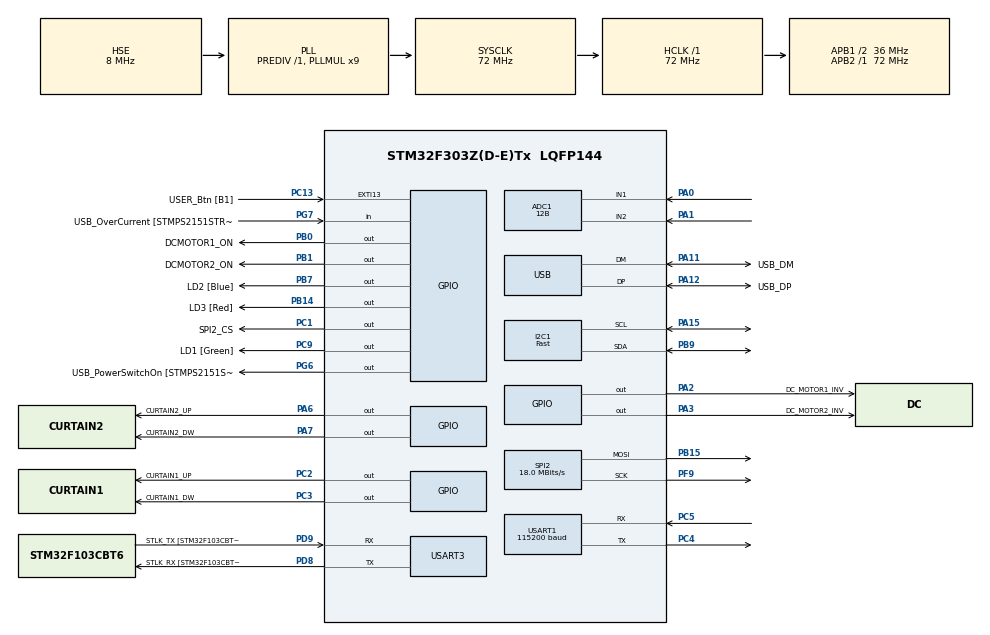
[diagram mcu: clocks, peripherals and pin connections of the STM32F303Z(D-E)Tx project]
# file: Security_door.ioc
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ADC1.Channel-0\#ChannelRegularConversion=ADC_CHANNEL_1
ADC1.Channel-1\#ChannelRegularConversion=ADC_CHANNEL_2
ADC1.ClockPrescaler=ADC_CLOCK_SYNC_PCLK_DIV2
ADC1.ContinuousConvMode=ENABLE
ADC1.DMAContinuousRequests=ENABLE
ADC1.EOCSelection=ADC_EOC_SINGLE_CONV
ADC1.NbrOfConversion=2
ADC1.NbrOfConversionFlag=1
ADC1.Offset-0\#ChannelRegularConversion=0
ADC1.Offset-1\#ChannelRegularConversion=0
ADC1.OffsetNumber-0\#ChannelRegularConversion=ADC_OFFSET_NONE
ADC1.OffsetNumber-1\#ChannelRegularConversion=ADC_OFFSET_NONE
ADC1.Rank-0\#ChannelRegularConversion=1
ADC1.Rank-1\#ChannelRegularConversion=2
ADC1.Resolution=ADC_RESOLUTION_12B
ADC1.SamplingTime-0\#ChannelRegularConversion=ADC_SAMPLETIME_181CYCLES_5
ADC1.SamplingTime-1\#ChannelRegularConversion=ADC_SAMPLETIME_181CYCLES_5
ADC1.master=1
Dma.ADC1.2.Direction=DMA_PERIPH_TO_MEMORY
Dma.ADC1.2.Instance=DMA1_Channel1
Dma.ADC1.2.MemDataAlignment=DMA_MDATAALIGN_HALFWORD
Dma.ADC1.2.MemInc=DMA_MINC_ENABLE
Dma.ADC1.2.Mode=DMA_CIRCULAR
Dma.ADC1.2.PeriphDataAlignment=DMA_PDATAALIGN_HALFWORD
Dma.ADC1.2.PeriphInc=DMA_PINC_DISABLE
Dma.ADC1.2.Priority=DMA_PRIORITY_LOW
Dma.Request0=USART1_RX
Dma.Request1=USART1_TX
Dma.Request2=ADC1
Dma.USART1_RX.0.Direction=DMA_PERIPH_TO_MEMORY
Dma.USART1_RX.0.Instance=DMA1_Channel5
Dma.USART1_RX.0.MemDataAlignment=DMA_MDATAALIGN_BYTE
Dma.USART1_RX.0.MemInc=DMA_MINC_ENABLE
Dma.USART1_RX.0.Mode=DMA_NORMAL
Dma.USART1_RX.0.PeriphDataAlignment=DMA_PDATAALIGN_BYTE
Dma.USART1_RX.0.PeriphInc=DMA_PINC_DISABLE
Dma.USART1_RX.0.Priority=DMA_PRIORITY_LOW
Dma.USART1_TX.1.Direction=DMA_MEMORY_TO_PERIPH
Dma.USART1_TX.1.Instance=DMA1_Channel4
Dma.USART1_TX.1.MemDataAlignment=DMA_MDATAALIGN_BYTE
Dma.USART1_TX.1.MemInc=DMA_MINC_ENABLE
Dma.USART1_TX.1.Mode=DMA_NORMAL
Dma.USART1_TX.1.PeriphDataAlignment=DMA_PDATAALIGN_BYTE
Dma.USART1_TX.1.PeriphInc=DMA_PINC_DISABLE
Dma.USART1_TX.1.Priority=DMA_PRIORITY_LOW
I2C1.I2C_Speed_Mode=I2C_Fast
I2C1.Timing=0x0000020B
Mcu.Family=STM32F3
Mcu.Name=STM32F303Z(D-E)Tx
Mcu.Package=LQFP144
NVIC.DMA1_Channel1_IRQn=true\:0\:0\:false\:false\:true\:false\:true
NVIC.DMA1_Channel4_IRQn=true\:0\:0\:false\:false\:true\:false\:true
NVIC.DMA1_Channel5_IRQn=true\:0\:0\:false\:false\:true\:false\:true
NVIC.PriorityGroup=NVIC_PRIORITYGROUP_4
NVIC.TIM6_DAC_IRQn=true\:0\:0\:false\:false\:true\:true\:true
NVIC.TIM7_IRQn=true\:0\:0\:false\:false\:true\:true\:true
NVIC.USART1_IRQn=true\:0\:0\:false\:false\:true\:true\:true
NVIC.USB_LP_CAN_RX0_IRQn=true\:0\:0\:false\:false\:true\:true\:true
PA0.Mode=IN1-Single-Ended
PA0.Signal=ADC1_IN1
PA1.Mode=IN2-Single-Ended
PA1.Signal=ADC1_IN2
PA11.GPIO_Label=USB_DM
PA11.Mode=Device
PA11.Signal=USB_DM
PA12.GPIO_Label=USB_DP
PA12.Mode=Device
PA12.Signal=USB_DP
PA13.GPIO_Label=TMS
PA13.Mode=Serial_Wire
PA13.Signal=SYS_JTMS-SWDIO
PA14.GPIO_Label=TCK
PA14.Mode=Serial_Wire
PA14.Signal=SYS_JTCK-SWCLK
PA15.Mode=I2C
PA15.Signal=I2C1_SCL
PA2.GPIO_Label=DC_MOTOR1_INV
PA2.Signal=GPIO_Output
PA3.GPIO_Label=DC_MOTOR2_INV
PA3.Signal=GPIO_Output
PA6.GPIO_Label=CURTAIN2_UP
PA6.Signal=GPIO_Output
PA7.GPIO_Label=CURTAIN2_DW
PA7.Signal=GPIO_Output
PB0.GPIO_Label=DCMOTOR1_ON
PB0.Signal=GPIO_Output
PB1.GPIO_Label=DCMOTOR2_ON
PB1.Signal=GPIO_Output
PB14.GPIO_Label=LD3 [Red]
PB14.Signal=GPIO_Output
PB15.Mode=TX_Only_Simplex_Unidirect_Master
PB15.Signal=SPI2_MOSI
PB3.GPIO_Label=SWO
PB3.Signal=SYS_JTDO-TRACESWO
PB7.GPIO_Label=LD2 [Blue]
PB7.Signal=GPIO_Output
PB9.Mode=I2C
PB9.Signal=I2C1_SDA
PC1.GPIO_Label=SPI2_CS
PC1.Signal=GPIO_Output
PC13.GPIO_Label=USER_Btn [B1]
PC13.Signal=GPXTI13
PC14-OSC32_IN.Mode=LSE-External-Oscillator
PC14-OSC32_IN.Signal=RCC_OSC32_IN
PC15-OSC32_OUT.Mode=LSE-External-Oscillator
PC15-OSC32_OUT.Signal=RCC_OSC32_OUT
PC2.GPIO_Label=CURTAIN1_UP
PC2.Signal=GPIO_Output
PC3.GPIO_Label=CURTAIN1_DW
PC3.Signal=GPIO_Output
PC4.Mode=Asynchronous
PC4.Signal=USART1_TX
PC5.Mode=Asynchronous
PC5.Signal=USART1_RX
PC9.GPIO_Label=LD1 [Green]
PC9.Signal=GPIO_Output
PD8.GPIO_Label=STLK_RX [STM32F103CBT6_PA3]
PD8.Mode=Asynchronous
PD8.Signal=USART3_TX
PD9.GPIO_Label=STLK_TX [STM32F103CBT6_PA2]
PD9.Mode=Asynchronous
PD9.Signal=USART3_RX
PF0-OSC_IN.GPIO_Label=MCO [STM32F103CBT6_PA8]
PF0-OSC_IN.Mode=HSE-External-Clock-Source
PF0-OSC_IN.Signal=RCC_OSC_IN
PF9.Mode=TX_Only_Simplex_Unidirect_Master
PF9.Signal=SPI2_SCK
PG6.GPIO_Label=USB_PowerSwitchOn [STMPS2151STR_EN]
PG6.Signal=GPIO_Output
PG7.GPIO_Label=USB_OverCurrent [STMPS2151STR_FAULT]
PG7.Signal=GPIO_Input
ProjectManager.HeapSize=0x400
ProjectManager.StackSize=0x800
ProjectManager.TargetToolchain=SW4STM32
RCC.AHBFreq_Value=72000000
RCC.APB1CLKDivider=RCC_HCLK_DIV2
RCC.APB1Freq_Value=36000000
RCC.APB1TimFreq_Value=72000000
RCC.APB2Freq_Value=72000000
RCC.APB2TimFreq_Value=72000000
RCC.CortexFreq_Value=72000000
RCC.HCLKFreq_Value=72000000
RCC.HSE_VALUE=8000000
RCC.HSI_VALUE=8000000
RCC.PLLMUL=RCC_PLL_MUL9
RCC.PRESCALERUSB=RCC_USBCLKSOURCE_PLL_DIV1_5
RCC.SYSCLKFreq_VALUE=72000000
RCC.SYSCLKSourceVirtual=RCC_SYSCLKSOURCE_PLLCLK
RCC.USBFreq_Value=48000000
SPI2.BaudRatePrescaler=SPI_BAUDRATEPRESCALER_2
SPI2.CLKPhase=SPI_PHASE_2EDGE
SPI2.CLKPolarity=SPI_POLARITY_HIGH
SPI2.CalculateBaudRate=18.0 MBits/s
SPI2.DataSize=SPI_DATASIZE_8BIT
SPI2.Direction=SPI_DIRECTION_2LINES
SPI2.Mode=SPI_MODE_MASTER
SPI2.VirtualType=VM_MASTER
TIM6.Period=19999
TIM6.Prescaler=35999
TIM7.Period=199
TIM7.Prescaler=17999
USART1.BaudRate=115200
USART1.VirtualMode-Asynchronous=VM_ASYNC
USART3.VirtualMode-Asynchronous=VM_ASYNC
VP_RTC_VS_RTC_Activate.Mode=RTC_Enabled
VP_TIM17_VS_ClockSourceINT.Mode=Enable_Timer
VP_TIM6_VS_ClockSourceINT.Mode=Enable_Timer
VP_TIM7_VS_ClockSourceINT.Mode=Enable_Timer
board=NUCLEO-F303ZE

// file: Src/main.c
/* USER CODE BEGIN Header */
/**
  ******************************************************************************
  * @file           : main.c
  * @brief          : Main program body
  ******************************************************************************
  * @attention
  *
  * <h2><center>&copy; Copyright (c) 2020 STMicroelectronics.
  * All rights reserved.</center></h2>
  *
  * This software component is licensed by ST under BSD 3-Clause license,
  * the "License"; You may not use this file except in compliance with the
  * License. You may obtain a copy of the License at:
  *                        opensource.org/licenses/BSD-3-Clause
  *
  ******************************************************************************
  */
/* USER CODE END Header */

#include "main.h"

/* USER CODE BEGIN PD */
#define MAX 65535				//control signal is calculated as 32 bit signed int, but passed to dac as 16bit unsigned int
#define MIN 0
#define STABLE_ITERATIONS 40	//40*50ms is 2000ms=2s, if error

#define RESPONSE_BYTES 2		//size of UART response buffer
#define ADC_RESOLUTION 4096		//ADC bitsize is 12, 12^2=4096

#define KEYPAD_READ_ADDR 0x41	//these 3 values are taken from I2C expander documentation
#define KEYPAD_WRITE_ADDR 0x40
#define KEYPAD_GPIOA_ADDR 0x12

/* USER CODE END PD */

ADC_HandleTypeDef hadc1;
DMA_HandleTypeDef hdma_adc1;

I2C_HandleTypeDef hi2c1;

RTC_HandleTypeDef hrtc;

SPI_HandleTypeDef hspi2;

TIM_HandleTypeDef htim6;
TIM_HandleTypeDef htim7;
TIM_HandleTypeDef htim17;

UART_HandleTypeDef huart1;
UART_HandleTypeDef huart3;
DMA_HandleTypeDef hdma_usart1_rx;
DMA_HandleTypeDef hdma_usart1_tx;

PCD_HandleTypeDef hpcd_USB_FS;

/* USER CODE BEGIN PV */
extern uint8_t overflow_flag_tim6;						//flag checked in callback function from timer (see stm32f3xx_it.c)
extern uint8_t overflow_flag_tim7;

uint16_t ADC_buffer[4]={0xFFFF,0xFFFF,0xFFFF,0xFFFF};	//purpose of buffer being of size of 4 is to check if DMA was set to right parameters in CUBE (Half word, instead of word
uint16_t distance[2]={0,0};								//distance calculated with ADC value (in mm)
uint16_t DAC_value[2]={0,0};							//value passed to DAC
int control_value[2]={0,0};								//value calculated by control algorithm before passing it to DAC
uint16_t motor_refference_prim[2]={1000,1000};			//0-open, 1000-closed
uint16_t motor_refference[2]={1000,1000};				//0-open, 1000-closed
int error[2]={0,0};										//error calculated from distance and reference values
int error_prim[2]={0,0};								//value of error in previous period of control algorithm
float kP=1;												//Value of proportional gain of the controller (placeholder)
float kD=0.5;											//Value of differentional part's gain of the controller (placeholder)

uint8_t received[3]={0,0,0};			//buffer for bytes received via USART from the supervisor PC
uint16_t com_password=0xFFFF;			//password needed to open the communication via USART from the PC
uint8_t com_locked=1;					//flag that indicates if access to supervisor commands was granted via USART

/*uint32_t dac_write_command = 0x3;
  uint32_t channel_write_ch_A = 0x0;
  uint32_t channel_write_ch_B = 0x1;*/	//currently unused

uint16_t standby_password=1234;			//keypad input needed to open the doors in standby mode
uint16_t alarm_password=2345;			//keypad input needed to go back to standby mode back from alarm mode
uint16_t night_password=3456;			//keypad input needed to go back to standby mode back from nighttime mode
uint8_t door_status=1; 					//0-opened, 1- closed
uint8_t curtain_status[2]={2,2}; 		//0-opened, 1-closing, 2 - closed, 3 - opening
uint8_t controller_status[2]={0,0};		//0-enabled, 1-disabled
uint8_t door_lock=1;					//0-open, 1-closed
uint8_t status=0;						//0-standby, 1-alarm, 2-nightmode
/* USER CODE END PV */

void SystemClock_Config(void);
static void MX_GPIO_Init(void);
static void MX_DMA_Init(void);
static void MX_RTC_Init(void);
static void MX_USART1_UART_Init(void);
static void MX_USART3_UART_Init(void);
static void MX_USB_PCD_Init(void);
static void MX_ADC1_Init(void);
static void MX_I2C1_Init(void);
static void MX_SPI2_Init(void);
static void MX_TIM17_Init(void);
static void MX_TIM6_Init(void);
static void MX_TIM7_Init(void);
/* USER CODE BEGIN PFP */
void open_curtains(){
    if(curtain_status[0]!=0){	//if the curtain is not opened already
    	HAL_GPIO_WritePin(DCMOTOR1_ON_GPIO_Port,DCMOTOR1_ON_Pin,GPIO_PIN_SET);	//start up the dc motor
        HAL_GPIO_WritePin(CURTAIN1_UP_GPIO_Port,CURTAIN1_UP_Pin,GPIO_PIN_RESET);//disengage the locks..
        HAL_GPIO_WritePin(CURTAIN1_DW_GPIO_Port,CURTAIN1_DW_Pin,GPIO_PIN_RESET);//...that hold the curtain in place
        motor_refference[0]=0;
        curtain_status[0]=3;				//switched to opening
        controller_status[0]=1;				//enable the regulator
        HAL_TIM_Base_Start_IT(&htim7);		//start up the timer with the regulator
    }
    if(curtain_status[1]!=0){	//why not use for if both ifs are almost identical? Because of pin names in HAL functions
    	HAL_GPIO_WritePin(DCMOTOR2_ON_GPIO_Port,DCMOTOR2_ON_Pin,GPIO_PIN_SET);
        HAL_GPIO_WritePin(CURTAIN2_UP_GPIO_Port,CURTAIN2_UP_Pin,GPIO_PIN_RESET);
        HAL_GPIO_WritePin(CURTAIN2_DW_GPIO_Port,CURTAIN2_DW_Pin,GPIO_PIN_RESET);
        motor_refference[1]=0;
        curtain_status[1]=3;
        controller_status[1]=1;
        HAL_TIM_Base_Start_IT(&htim7);
    }
}
void open_door(){
	HAL_GPIO_WritePin(LD2_GPIO_Port,LD2_Pin,GPIO_PIN_SET);	//logic for magnetic lock is inverted to prevent it from being left opened in case of power failure
	door_status=0;					//door status is used to prevent code being input on keypad while doors are opened
	htim6.Instance->CNT=0;			//this is mostly redundant, but with timers it's "better safe than sorry" for me
	HAL_TIM_Base_Start_IT(&htim6);	//engage the door lock again in 10 minutes
};
void close_all(){		//almost the same as open_curtains()
	door_status=1;		//but doors are also closed hence "close_all()"
	HAL_GPIO_WritePin(LD2_GPIO_Port,LD2_Pin,GPIO_PIN_RESET);	//since I don't have a real magnetic lock LED 2 is used instead
    if(curtain_status[0]!=2){
    	HAL_GPIO_WritePin(DCMOTOR1_ON_GPIO_Port,DCMOTOR1_ON_Pin,GPIO_PIN_SET);
		HAL_GPIO_WritePin(CURTAIN1_UP_GPIO_Port,CURTAIN1_UP_Pin,GPIO_PIN_RESET);
		HAL_GPIO_WritePin(CURTAIN1_DW_GPIO_Port,CURTAIN1_DW_Pin,GPIO_PIN_RESET);
        motor_refference[0]=1000;
        curtain_status[0]=1;
        controller_status[0]=1;
        HAL_TIM_Base_Start_IT(&htim7);
    }
    if(curtain_status[1]!=2){
		HAL_GPIO_WritePin(DCMOTOR2_ON_GPIO_Port,DCMOTOR2_ON_Pin,GPIO_PIN_SET);
		HAL_GPIO_WritePin(CURTAIN2_UP_GPIO_Port,CURTAIN2_UP_Pin,GPIO_PIN_RESET);
		HAL_GPIO_WritePin(CURTAIN2_DW_GPIO_Port,CURTAIN2_DW_Pin,GPIO_PIN_RESET);
		motor_refference[1]=1000;
		curtain_status[1]=1;
		controller_status[1]=1;
		HAL_TIM_Base_Start_IT(&htim7);
	}
}
void turn_standby(){
	status=0;			//status is used in main logic of the program
	HAL_GPIO_WritePin(LD3_GPIO_Port,LD3_Pin,GPIO_PIN_RESET);	//turn off the alarm
    open_curtains();	//turning standby is not the same as opening the doors - that's why we open the curtains only
}
void turn_alarm(){
	status=1;
	HAL_GPIO_WritePin(LD3_GPIO_Port,LD3_Pin,GPIO_PIN_SET);		//since I don't have an alarm siren - LED 3 is used instead
    close_all();
}
void turn_nightmode(){
	status=2;			//nighttime is basically the same as alarm mode without actual alarm, it's meant to seal the room durin off hours
    close_all();
}
uint8_t* buffer_fitting(uint32_t response){			//this function takes single bitstream response and fits it into 8 bit variables to create a fitting buffer for USART
	static uint8_t buffer[RESPONSE_BYTES];
	for(int i=0;i<RESPONSE_BYTES;i++){
		buffer[i]=(response>>((RESPONSE_BYTES-1-i)*8))&0xFF;
	}
	return buffer;	//normally returning pointer to static variable within function is dangerous, but this function is used only within receive function and the buffer is used immediately after that, so there's no danger
}
int COM_USART_receive(){
    uint8_t msg_type;		//command types: 0 - open/close, 1 - password change, 2 - read control/sensor values, 3 - direct commands
    uint8_t msg_target;
    uint16_t msg_argument;					//message is split into 3 parts
    static uint16_t response;
    uint8_t* send_buffer;
    msg_type=received[0]>>4;				//first 4 bits are type of action to conduct
    msg_target=received[0]&0x0F;			//next 4 are target of the message
    msg_argument=received[1]<<8;			//last two are arguments
    msg_argument=msg_argument|received[2];	//argument is applicable to password setting
    if(msg_type==0&&msg_target==0&&com_locked==1){	//if com is locked password needs to be sent first to unlock it
        if(msg_argument==com_password)	//if password is correct
        {
            com_locked=0;	//unlock the comm
            response=0;		//send 0
            send_buffer=buffer_fitting(response);
            HAL_UART_Transmit_DMA(&huart1, send_buffer, 2); //this could be integrated into buffer fitting as a send() function, but I get a feeling it's better to place it here for clarity
            return 0;										//if we had other USART based comm I would be in favour of doing that ^, because it'd remove the issue of returning pointer to static variable declared in function.
        }else{
            com_locked=1;
            response=1;
            send_buffer=buffer_fitting(response);
			HAL_UART_Transmit_DMA(&huart1, send_buffer, 2);
            return 0;
        }
    }
    if(com_locked==1){		//if comm is locked - access is denied to everything that's not a password guess.
        response=0xF1;
        send_buffer=buffer_fitting(response);
		HAL_UART_Transmit_DMA(&huart1, send_buffer, 2);
        return 1;
    }
    switch(msg_type){
    case 0://close comm
    	com_locked=1;
        if(msg_target!=1){	//since we only have two options if is as applicable as switch-case.
            response=0x01;	//if message is not of target 0 (lock with password), old password is used
            send_buffer=buffer_fitting(response);
			HAL_UART_Transmit_DMA(&huart1, send_buffer, 2);
            return 0;
        }
        com_password=msg_argument;	//if message is of target 0 - argument is used as a new comm password
        response=com_password;
        send_buffer=buffer_fitting(response);
		HAL_UART_Transmit_DMA(&huart1, send_buffer, 2);
        return 0;
        break;
    case 1://Password Change
        if(msg_target==3){		//we can also change comm password in this way, if is used because comm password unlike keypad passwords is not limited to 9999
            com_password=msg_argument;
            response=msg_argument;
            send_buffer=buffer_fitting(response);
			HAL_UART_Transmit_DMA(&huart1, send_buffer, 2);
            return 0;
        }
        if(msg_argument>9999){	//keypadd passwords are 4 decimal digits so they can't exceed 9999
            response=0x30;		//0x30 = wrong argument.
            send_buffer=buffer_fitting(response);
			HAL_UART_Transmit_DMA(&huart1, send_buffer, 2);
            return 1;
        }
        switch(msg_target){		//there is really nothing to say here. it's just changing keypad codes
        case 0:					//standby code (door opening)
            standby_password=msg_argument;
            response=msg_argument;
            send_buffer=buffer_fitting(response);
			HAL_UART_Transmit_DMA(&huart1, send_buffer, 2);
            break;
        case 1:					//night code (switching from nighttime to standby)
            night_password=msg_argument;
            response=msg_argument;
            send_buffer=buffer_fitting(response);
			HAL_UART_Transmit_DMA(&huart1, send_buffer, 2);
            break;
        case 2:					//alarm code (switching from alarm to standby)
            alarm_password=msg_argument;
            response=msg_argument;
            send_buffer=buffer_fitting(response);
			HAL_UART_Transmit_DMA(&huart1, send_buffer, 2);
            break;
        default:
            response=0x20;	//0x20 - wrong target
            send_buffer=buffer_fitting(response);
			HAL_UART_Transmit_DMA(&huart1, send_buffer, 2);
            return 1;	//error was detected (or access was denied)
        }
        return 0;		//no error was detected
    case 2:						//Converter Values
        switch(msg_target){ 	//we use this to return values read by adc and written to dac
        case 0:					//distance from 1st sensor
            response=distance[0];
            send_buffer=buffer_fitting(response);
			HAL_UART_Transmit_DMA(&huart1, send_buffer, 2);
            break;
        case 1:					//distance from 2nd sensor
            response=distance[1];
            send_buffer=buffer_fitting(response);
			HAL_UART_Transmit_DMA(&huart1, send_buffer, 2);
            break;
        case 2:					//value sent to first channel of DAC
            response=DAC_value[0];
            send_buffer=buffer_fitting(response);
			HAL_UART_Transmit_DMA(&huart1, send_buffer, 2);
            break;
        case 3:
            response=DAC_value[1];
            send_buffer=buffer_fitting(response);
			HAL_UART_Transmit_DMA(&huart1, send_buffer, 2);
            break;
        default:
            response=0x20;	//wrong target
            send_buffer=buffer_fitting(response);
			HAL_UART_Transmit_DMA(&huart1, send_buffer, 2);
            return 1;
        }
        return 0;
    case 3:					//direct commands
        switch(msg_target){
        case 0:				//open all command - turns standby (opening curtains) and opens the door
        					//THIS HAS TO BE USED AFTER LAUNCHING THE SYSTEM since the initial configuration (closed curtains, standby mode, closed door is unobtainable by working system on it's own
        					//this is by design to ensure the security system is always supervised by an overwatch PC unit
            response=0x03;	//03 and not 30 not to confuse it with "wrong argument"
            turn_standby();
            open_door();
            send_buffer=buffer_fitting(response);
			HAL_UART_Transmit_DMA(&huart1, send_buffer, 2);
            break;
        case 1:				//turn alarm/nightmode off/turn standby - this is applicable where someone locks the operator inside.
            response=0x13;
            turn_standby();
            send_buffer=buffer_fitting(response);
			HAL_UART_Transmit_DMA(&huart1, send_buffer, 2);
            break;
        case 2:				//turn alarm on - this is used when safety of an operator is imperiled and he has to close the door
            response=0x23;
            turn_alarm();
            send_buffer=buffer_fitting(response);
			HAL_UART_Transmit_DMA(&huart1, send_buffer, 2);
            break;
        default:
            response=0x20;
            send_buffer=buffer_fitting(response);
			HAL_UART_Transmit_DMA(&huart1, send_buffer, 2);
            return 1;
        }
        return 0;
    default:
        response=0x10;	//0x10 = wrong type
        send_buffer=buffer_fitting(response);
		HAL_UART_Transmit_DMA(&huart1, send_buffer, 2);
        return 1;
    }
    return 2;	//unknown error (there's no way the program would get here)
}
void HAL_ADC_ConvCpltCallback(ADC_HandleTypeDef* hadc){
	for(uint8_t i=0; i<2; i++){
		distance[i] = ADC_buffer[i]*2000/ADC_RESOLUTION-1;	//2000 mm is the maximum range of the sensor (as we can read in the documentation)
	}
}
void HAL_UART_RxCpltCallback(UART_HandleTypeDef *huart) {
	if(huart==&huart1){
		COM_USART_receive();								//call the received message processing function
		HAL_UART_Receive_DMA(&huart1, received, 3);			//set the USART back to receive
	}
}
void HAL_TIM_PeriodElapsedCallback(TIM_HandleTypeDef *htim){
	if((htim->Instance==TIM6)&&(overflow_flag_tim6)){	//this 10 second timer will engage the magnetic lock after disengaging them by open_door()
		HAL_TIM_Base_Stop_IT(&htim6);					//shutting the timer off till it's enabled again by door opening
		htim6.Instance->CNT=0;
		overflow_flag_tim6=0;
		door_status=1;
		HAL_GPIO_WritePin(LD2_GPIO_Port,LD2_Pin,GPIO_PIN_RESET);
	}
	if((htim->Instance==TIM7)&&(overflow_flag_tim7)){	//PD regulator
		static uint8_t DAC_SPI_send_buffer[4]={0,0,0,0};
		static uint8_t DAC_SPI_ans_buffer[4]={0,0,0,0};	//DAC buffers for SPI transmiting function
		static int stable_counter[2]={0,0};
		//REGULATOR//
		for(int control_iterator=0;control_iterator<2;control_iterator++){
			error[control_iterator]=motor_refference[control_iterator]-distance[control_iterator];	//calculating error
			if(controller_status[control_iterator]==1){									//if regulator is enabled
				//PD, dc motor is already an integrating object, so no need for PID
				control_value[control_iterator]=kP*error[control_iterator]+kD*(error[control_iterator]-error_prim[control_iterator]);
				error_prim[control_iterator]=error[control_iterator];					//setting current error as past error for the next period
				if(abs(error[control_iterator])<20){	//this might seem confusing, when opening - error value is reference(0)-distance(positive) so = negative, when closing - it's positive, this statement ensures that we always compare 20 with absolute value of error
					stable_counter[control_iterator]++;						//if the value of error is less than 2cm (in range for lock to be able to hold the curtain) it counts as stable iteration
					if(stable_counter[control_iterator]>STABLE_ITERATIONS){	//if curtains are in lock range for more than 2 seconds controller is disabled and locks are engaged
						stable_counter[control_iterator]=0;					//disabling controller
						controller_status[control_iterator]=0;				//resetting counter of iterations
						if(curtain_status[control_iterator]==1)				//if doors are closing...
							curtain_status[control_iterator]=2; else		//...set as closed
							curtain_status[control_iterator]=0;				//if opening - set as open
						if(control_iterator==0){							//can't use for here, because of pin names
							HAL_GPIO_WritePin(CURTAIN1_UP_GPIO_Port,CURTAIN1_UP_Pin,GPIO_PIN_SET);//first engage the locks - then reset the motor
							HAL_GPIO_WritePin(CURTAIN1_DW_GPIO_Port,CURTAIN1_DW_Pin,GPIO_PIN_SET);
							HAL_Delay(20); 	//this is to ensure the curtains won't move before locks are engaged.
							HAL_GPIO_WritePin(DCMOTOR1_ON_GPIO_Port,DCMOTOR1_ON_Pin,GPIO_PIN_RESET);
						}else{
							HAL_GPIO_WritePin(CURTAIN2_UP_GPIO_Port,CURTAIN2_UP_Pin,GPIO_PIN_SET);
							HAL_GPIO_WritePin(CURTAIN2_DW_GPIO_Port,CURTAIN2_DW_Pin,GPIO_PIN_SET);
							HAL_Delay(20);
							HAL_GPIO_WritePin(DCMOTOR2_ON_GPIO_Port,DCMOTOR2_ON_Pin,GPIO_PIN_RESET);
						}
					}
				}else
					stable_counter[control_iterator]=0;		//if curtain moves out of lock range even for an iteration - counter is reset
			}
			if(control_value[control_iterator]>MAX)			//as stated before - we need to make sure we won't overflow the 16 unsigned int with 32 bit int value
				control_value[control_iterator]=MAX;
			if(control_value[control_iterator]<MIN){
				switch(control_iterator){	//the part that starts here
				case 0:
					HAL_GPIO_WritePin(DC_MOTOR1_INV_GPIO_Port,DC_MOTOR1_INV_Pin,GPIO_PIN_SET);
					break;
				case 1:
					HAL_GPIO_WritePin(DC_MOTOR2_INV_GPIO_Port,DC_MOTOR2_INV_Pin,GPIO_PIN_SET);
					break;
				}
			}else{
				switch(control_iterator){
				case 0:
					HAL_GPIO_WritePin(DC_MOTOR1_INV_GPIO_Port,DC_MOTOR1_INV_Pin,GPIO_PIN_RESET);
					break;
				case 1:
					HAL_GPIO_WritePin(DC_MOTOR2_INV_GPIO_Port,DC_MOTOR2_INV_Pin,GPIO_PIN_RESET);
					break;					//and ends here ensures that in case of value being negative - the dc motor will work in other direction (this can also be done within the physical circuit)
				}
			}
			DAC_value[control_iterator]=abs(control_value[control_iterator]);	//we're inverting the work of motor in code - we convert the abs value
		}
		HAL_GPIO_WritePin(SPI2_CS_GPIO_Port,SPI2_CS_Pin,GPIO_PIN_RESET);		//chip select is in reset - slave is listening
		DAC_SPI_send_buffer[3]=0x03;						//from documentation - write and update DAC channel
		DAC_SPI_send_buffer[2]=(DAC_value[0]>>12)|0x00;		//selecting 1st DAC channel
		DAC_SPI_send_buffer[1]=(DAC_value[0]&0x0FF0)>>4;	//fitting the value to be converted
		DAC_SPI_send_buffer[0]=(DAC_value[0]&0x000F)<<4;
		HAL_SPI_TransmitReceive(&hspi2, DAC_SPI_send_buffer, DAC_SPI_ans_buffer, 4, HAL_MAX_DELAY);
		DAC_SPI_send_buffer[3]=0x03;						//same procedure for 2nd DAC channel
		DAC_SPI_send_buffer[2]=(DAC_value[1]>>12)|0x01;
		DAC_SPI_send_buffer[1]=(DAC_value[1]&0x0FF0)>>4;
		DAC_SPI_send_buffer[0]=(DAC_value[1]&0x000F)<<4;
		HAL_SPI_TransmitReceive(&hspi2, DAC_SPI_send_buffer, DAC_SPI_ans_buffer, 4, HAL_MAX_DELAY);
		HAL_GPIO_WritePin(SPI2_CS_GPIO_Port,SPI2_CS_Pin,GPIO_PIN_RESET);
		if(controller_status[0]==0&&controller_status[1]==0){	//if both curtains are in place and regulators are disabled - stop the timer
			HAL_TIM_Base_Stop_IT(&htim7);
			htim7.Instance->CNT=0;
		}
		overflow_flag_tim7=0;
	}
}
uint8_t keypad_scan(){							//standard keypad scanning function
	uint8_t column_masks[3]={0x6F,0xAF, 0xCF};	//those masks serve to set appropiate column bits at keypad to low, while setting the rest of the column and row bits to high
	uint8_t keypad_buffer;
	static uint8_t keypad_map[4][3] ={			//keypad map used for clarity
	 { 1,  2,  3},
	 { 4,  5,  6},
	 { 7,  8,  9},
	 {0xA, 0, 0xB}
	 };
	for(int i=0; i<3; i++){
		keypad_buffer=column_masks[i];	//we iterate through column masks
		HAL_I2C_Mem_Write(&hi2c1, KEYPAD_WRITE_ADDR, KEYPAD_GPIOA_ADDR, 1, &keypad_buffer, sizeof(keypad_buffer), HAL_MAX_DELAY);
										//line above ensures all bits but the column we're scanning are set to 1
		HAL_Delay(3);					//this short interval is to ensure all pins are updated
		HAL_I2C_Mem_Read(&hi2c1, KEYPAD_READ_ADDR, KEYPAD_GPIOA_ADDR, 1, &keypad_buffer, 1, HAL_MAX_DELAY);
										//this line reads all the column and row pins' values
		keypad_buffer=keypad_buffer & 0x0F;	//if any of the buttons in the column was pressed - it's row will also be pulled to 0
		switch(keypad_buffer){				//if any of the row bits are 0 this means button in this row and currently scanned column was pressed
		case 0x07:
			return keypad_map[0][i];
			break;
		case 0x0B:
			return keypad_map[1][i];
			break;
		case 0x0D:
			return keypad_map[2][i];
			break;
		case 0x0E:
			return keypad_map[3][i];
			break;
		default:
			break;
		}
	}
	return 0x0C;							//if none of the buttons was pressed - return a number that's not on the keypad
}	//this function is really the most standard way of doing it and could be implemented with GPIO pins on the board, using expander is not that necessary unless we're short on available gpio outputs
/* USER CODE END PFP */

int main(void)
{
  /* USER CODE BEGIN 1 */
	uint16_t code=0;		//code input on keypad
	uint8_t retries=0;		//available number of retries for inputting the password in standby mode
	uint8_t button=0xC;		//keypad_scan() output
	uint8_t rank=0;			//rank of the decimal variable added to code
  /* USER CODE END 1 */

  /* MCU Configuration--------------------------------------------------------*/

  /* Reset of all peripherals, Initializes the Flash interface and the Systick. */
  HAL_Init();

  /* Configure the system clock */
  SystemClock_Config();

  /* Initialize all configured peripherals */
  MX_GPIO_Init();
  MX_DMA_Init();
  MX_RTC_Init();
  MX_USART1_UART_Init();
  MX_USART3_UART_Init();
  MX_USB_PCD_Init();
  MX_ADC1_Init();
  MX_I2C1_Init();
  MX_SPI2_Init();
  MX_TIM17_Init();
  MX_TIM6_Init();
  MX_TIM7_Init();
  /* USER CODE BEGIN 2 */
  HAL_ADC_Start_DMA(&hadc1,ADC_buffer,2);		//inits and starts are pretty self explanatory
  HAL_ADC_Start_IT(&hadc1);
  HAL_UART_Receive_DMA(&huart1, received, 3);
  HAL_TIM_Base_Init(&htim6);
  HAL_TIM_Base_Init(&htim7);
  HAL_TIM_Base_Stop_IT(&htim7);					//just to make sure timer won't stop untill we want it to
  HAL_TIM_Base_Stop_IT(&htim6);
  htim6.Instance->CNT=0;						//...and that it will start from 0
  htim7.Instance->CNT=0;						//Just as I said - it's "better safe than sorry with timers
  HAL_SPI_Init(&hspi2);
  HAL_I2C_Init(&hi2c1);
  HAL_GPIO_WritePin(LD2_GPIO_Port,LD2_Pin,GPIO_PIN_SET);	//those 3 lines are just to make sure doors are really closed after init
  HAL_Delay(50);
  HAL_GPIO_WritePin(LD2_GPIO_Port,LD2_Pin,GPIO_PIN_RESET);
  /* USER CODE END 2 */

  /* Infinite loop */
  /* USER CODE BEGIN WHILE */
  while (1)
  {
	  HAL_Delay(1000);			//this delay is to prevent user from putting in two characters on keypad instead of one (happens to me a lot when I try to enter my block)
	  button=keypad_scan();		//scanning the keypad
	  if(button!=0xC && door_status==1){	//if a button was pressed and doors are not opened at the moment.
		  if(button>9){						//two extra buttons on keypad serve as reset
			  rank=0;
			  code=0;
		  }else{
			  code=code+(button*(10^rank));	//pressed button is added to 4 digit code as a next digit
			  rank++;						//rank is decimal rank of keypad code
		  }
		  if(rank==4){						//if 4 digits were put in
			  switch(status){
			  case 0: 	//standby
				  if(code==standby_password){	//if password is correct - open the door
					  open_door();
					  retries=0;
				  }else{
					  if(retries<2)				//if it's not - add an attempt
						  retries++; else{		//after 3 unsuccessful attempts - sound the alarm
						  turn_alarm();
						  retries=0;
					  }
				  }
				  break;
			  case 1: 							//alarm
				   if(code==alarm_password)		//if right alarm code was put in - shut off the alarm
					   turn_standby();			//there is no retries here, because how would it work? what state would it go after 3 attempts? Doublealarm?
				  break;
			  case 2: 							//nightmode
				  if(code==night_password){		//nightmode is just like standby (it also has retries)
					  turn_standby();			//the only diffrence is that it opens curtains (turns standby) and doesn't open the door
					  retries=0;
				  }else{
					  if(retries<2)
						  retries++; else{
						  turn_alarm();
						  retries=0;
					  }
				  }
				  break;
			  }
			  rank=0;
			  code=0;
		  }
	  }
    /* USER CODE END WHILE */

  }
}

void SystemClock_Config(void)
{
  RCC_OscInitTypeDef RCC_OscInitStruct = {0};
  RCC_ClkInitTypeDef RCC_ClkInitStruct = {0};
  RCC_PeriphCLKInitTypeDef PeriphClkInit = {0};

  /** Initializes the CPU, AHB and APB busses clocks
  */
  RCC_OscInitStruct.OscillatorType = RCC_OSCILLATORTYPE_HSI|RCC_OSCILLATORTYPE_LSI
                              |RCC_OSCILLATORTYPE_HSE;
  RCC_OscInitStruct.HSEState = RCC_HSE_BYPASS;
  RCC_OscInitStruct.HSIState = RCC_HSI_ON;
  RCC_OscInitStruct.HSICalibrationValue = RCC_HSICALIBRATION_DEFAULT;
  RCC_OscInitStruct.LSIState = RCC_LSI_ON;
  RCC_OscInitStruct.PLL.PLLState = RCC_PLL_ON;
  RCC_OscInitStruct.PLL.PLLSource = RCC_PLLSOURCE_HSE;
  RCC_OscInitStruct.PLL.PLLMUL = RCC_PLL_MUL9;
  RCC_OscInitStruct.PLL.PREDIV = RCC_PREDIV_DIV1;
  if (HAL_RCC_OscConfig(&RCC_OscInitStruct) != HAL_OK)
  {
    Error_Handler();
  }
  /** Initializes the CPU, AHB and APB busses clocks
  */
  RCC_ClkInitStruct.ClockType = RCC_CLOCKTYPE_HCLK|RCC_CLOCKTYPE_SYSCLK
                              |RCC_CLOCKTYPE_PCLK1|RCC_CLOCKTYPE_PCLK2;
  RCC_ClkInitStruct.SYSCLKSource = RCC_SYSCLKSOURCE_PLLCLK;
  RCC_ClkInitStruct.AHBCLKDivider = RCC_SYSCLK_DIV1;
  RCC_ClkInitStruct.APB1CLKDivider = RCC_HCLK_DIV2;
  RCC_ClkInitStruct.APB2CLKDivider = RCC_HCLK_DIV1;

  if (HAL_RCC_ClockConfig(&RCC_ClkInitStruct, FLASH_LATENCY_2) != HAL_OK)
  {
    Error_Handler();
  }
  PeriphClkInit.PeriphClockSelection = RCC_PERIPHCLK_USB|RCC_PERIPHCLK_USART1
                              |RCC_PERIPHCLK_USART3|RCC_PERIPHCLK_I2C1
                              |RCC_PERIPHCLK_RTC|RCC_PERIPHCLK_TIM17;
  PeriphClkInit.Usart1ClockSelection = RCC_USART1CLKSOURCE_PCLK2;
  PeriphClkInit.Usart3ClockSelection = RCC_USART3CLKSOURCE_PCLK1;
  PeriphClkInit.I2c1ClockSelection = RCC_I2C1CLKSOURCE_HSI;
  PeriphClkInit.RTCClockSelection = RCC_RTCCLKSOURCE_LSI;
  PeriphClkInit.USBClockSelection = RCC_USBCLKSOURCE_PLL_DIV1_5;
  PeriphClkInit.Tim17ClockSelection = RCC_TIM17CLK_HCLK;
  if (HAL_RCCEx_PeriphCLKConfig(&PeriphClkInit) != HAL_OK)
  {
    Error_Handler();
  }
}

static void MX_ADC1_Init(void)
{

  ADC_MultiModeTypeDef multimode = {0};
  ADC_ChannelConfTypeDef sConfig = {0};

  /** Common config
  */
  hadc1.Instance = ADC1;
  hadc1.Init.ClockPrescaler = ADC_CLOCK_SYNC_PCLK_DIV2;
  hadc1.Init.Resolution = ADC_RESOLUTION_12B;
  hadc1.Init.ScanConvMode = ADC_SCAN_ENABLE;
  hadc1.Init.ContinuousConvMode = ENABLE;
  hadc1.Init.DiscontinuousConvMode = DISABLE;
  hadc1.Init.ExternalTrigConvEdge = ADC_EXTERNALTRIGCONVEDGE_NONE;
  hadc1.Init.ExternalTrigConv = ADC_SOFTWARE_START;
  hadc1.Init.DataAlign = ADC_DATAALIGN_RIGHT;
  hadc1.Init.NbrOfConversion = 2;
  hadc1.Init.DMAContinuousRequests = ENABLE;
  hadc1.Init.EOCSelection = ADC_EOC_SINGLE_CONV;
  hadc1.Init.LowPowerAutoWait = DISABLE;
  hadc1.Init.Overrun = ADC_OVR_DATA_OVERWRITTEN;
  if (HAL_ADC_Init(&hadc1) != HAL_OK)
  {
    Error_Handler();
  }
  /** Configure the ADC multi-mode
  */
  multimode.Mode = ADC_MODE_INDEPENDENT;
  if (HAL_ADCEx_MultiModeConfigChannel(&hadc1, &multimode) != HAL_OK)
  {
    Error_Handler();
  }
  /** Configure Regular Channel
  */
  sConfig.Channel = ADC_CHANNEL_1;
  sConfig.Rank = ADC_REGULAR_RANK_1;
  sConfig.SingleDiff = ADC_SINGLE_ENDED;
  sConfig.SamplingTime = ADC_SAMPLETIME_181CYCLES_5;
  sConfig.OffsetNumber = ADC_OFFSET_NONE;
  sConfig.Offset = 0;
  if (HAL_ADC_ConfigChannel(&hadc1, &sConfig) != HAL_OK)
  {
    Error_Handler();
  }
  /** Configure Regular Channel
  */
  sConfig.Channel = ADC_CHANNEL_2;
  sConfig.Rank = ADC_REGULAR_RANK_2;
  if (HAL_ADC_ConfigChannel(&hadc1, &sConfig) != HAL_OK)
  {
    Error_Handler();
  }

}

static void MX_I2C1_Init(void)
{

  hi2c1.Instance = I2C1;
  hi2c1.Init.Timing = 0x0000020B;
  hi2c1.Init.OwnAddress1 = 0;
  hi2c1.Init.AddressingMode = I2C_ADDRESSINGMODE_7BIT;
  hi2c1.Init.DualAddressMode = I2C_DUALADDRESS_DISABLE;
  hi2c1.Init.OwnAddress2 = 0;
  hi2c1.Init.OwnAddress2Masks = I2C_OA2_NOMASK;
  hi2c1.Init.GeneralCallMode = I2C_GENERALCALL_DISABLE;
  hi2c1.Init.NoStretchMode = I2C_NOSTRETCH_DISABLE;
  if (HAL_I2C_Init(&hi2c1) != HAL_OK)
  {
    Error_Handler();
  }
  /** Configure Analogue filter
  */
  if (HAL_I2CEx_ConfigAnalogFilter(&hi2c1, I2C_ANALOGFILTER_ENABLE) != HAL_OK)
  {
    Error_Handler();
  }
  /** Configure Digital filter
  */
  if (HAL_I2CEx_ConfigDigitalFilter(&hi2c1, 0) != HAL_OK)
  {
    Error_Handler();
  }

}

static void MX_RTC_Init(void)
{

  /** Initialize RTC Only
  */
  hrtc.Instance = RTC;
  hrtc.Init.HourFormat = RTC_HOURFORMAT_24;
  hrtc.Init.AsynchPrediv = 127;
  hrtc.Init.SynchPrediv = 255;
  hrtc.Init.OutPut = RTC_OUTPUT_DISABLE;
  hrtc.Init.OutPutPolarity = RTC_OUTPUT_POLARITY_HIGH;
  hrtc.Init.OutPutType = RTC_OUTPUT_TYPE_OPENDRAIN;
  if (HAL_RTC_Init(&hrtc) != HAL_OK)
  {
    Error_Handler();
  }

}

static void MX_SPI2_Init(void)
{

  /* SPI2 parameter configuration*/
  hspi2.Instance = SPI2;
  hspi2.Init.Mode = SPI_MODE_MASTER;
  hspi2.Init.Direction = SPI_DIRECTION_2LINES;
  hspi2.Init.DataSize = SPI_DATASIZE_8BIT;
  hspi2.Init.CLKPolarity = SPI_POLARITY_HIGH;
  hspi2.Init.CLKPhase = SPI_PHASE_2EDGE;
  hspi2.Init.NSS = SPI_NSS_SOFT;
  hspi2.Init.BaudRatePrescaler = SPI_BAUDRATEPRESCALER_2;
  hspi2.Init.FirstBit = SPI_FIRSTBIT_MSB;
  hspi2.Init.TIMode = SPI_TIMODE_DISABLE;
  hspi2.Init.CRCCalculation = SPI_CRCCALCULATION_DISABLE;
  hspi2.Init.CRCPolynomial = 7;
  hspi2.Init.CRCLength = SPI_CRC_LENGTH_DATASIZE;
  hspi2.Init.NSSPMode = SPI_NSS_PULSE_DISABLE;
  if (HAL_SPI_Init(&hspi2) != HAL_OK)
  {
    Error_Handler();
  }

}

static void MX_TIM6_Init(void)
{

  TIM_MasterConfigTypeDef sMasterConfig = {0};

  htim6.Instance = TIM6;
  htim6.Init.Prescaler = 35999;
  htim6.Init.CounterMode = TIM_COUNTERMODE_UP;
  htim6.Init.Period = 19999;
  htim6.Init.AutoReloadPreload = TIM_AUTORELOAD_PRELOAD_DISABLE;
  if (HAL_TIM_Base_Init(&htim6) != HAL_OK)
  {
    Error_Handler();
  }
  sMasterConfig.MasterOutputTrigger = TIM_TRGO_RESET;
  sMasterConfig.MasterSlaveMode = TIM_MASTERSLAVEMODE_DISABLE;
  if (HAL_TIMEx_MasterConfigSynchronization(&htim6, &sMasterConfig) != HAL_OK)
  {
    Error_Handler();
  }

}

static void MX_TIM7_Init(void)
{

  TIM_MasterConfigTypeDef sMasterConfig = {0};

  htim7.Instance = TIM7;
  htim7.Init.Prescaler = 17999;
  htim7.Init.CounterMode = TIM_COUNTERMODE_UP;
  htim7.Init.Period = 199;
  htim7.Init.AutoReloadPreload = TIM_AUTORELOAD_PRELOAD_DISABLE;
  if (HAL_TIM_Base_Init(&htim7) != HAL_OK)
  {
    Error_Handler();
  }
  sMasterConfig.MasterOutputTrigger = TIM_TRGO_RESET;
  sMasterConfig.MasterSlaveMode = TIM_MASTERSLAVEMODE_DISABLE;
  if (HAL_TIMEx_MasterConfigSynchronization(&htim7, &sMasterConfig) != HAL_OK)
  {
    Error_Handler();
  }

}

static void MX_TIM17_Init(void)
{

  htim17.Instance = TIM17;
  htim17.Init.Prescaler = 0;
  htim17.Init.CounterMode = TIM_COUNTERMODE_UP;
  htim17.Init.Period = 0;
  htim17.Init.ClockDivision = TIM_CLOCKDIVISION_DIV1;
  htim17.Init.RepetitionCounter = 0;
  htim17.Init.AutoReloadPreload = TIM_AUTORELOAD_PRELOAD_DISABLE;
  if (HAL_TIM_Base_Init(&htim17) != HAL_OK)
  {
    Error_Handler();
  }

}

static void MX_USART1_UART_Init(void)
{

  huart1.Instance = USART1;
  huart1.Init.BaudRate = 115200;
  huart1.Init.WordLength = UART_WORDLENGTH_8B;
  huart1.Init.StopBits = UART_STOPBITS_1;
  huart1.Init.Parity = UART_PARITY_NONE;
  huart1.Init.Mode = UART_MODE_TX_RX;
  huart1.Init.HwFlowCtl = UART_HWCONTROL_NONE;
  huart1.Init.OverSampling = UART_OVERSAMPLING_16;
  huart1.Init.OneBitSampling = UART_ONE_BIT_SAMPLE_DISABLE;
  huart1.AdvancedInit.AdvFeatureInit = UART_ADVFEATURE_NO_INIT;
  if (HAL_UART_Init(&huart1) != HAL_OK)
  {
    Error_Handler();
  }

}

static void MX_USART3_UART_Init(void)
{

  huart3.Instance = USART3;
  huart3.Init.BaudRate = 38400;
  huart3.Init.WordLength = UART_WORDLENGTH_8B;
  huart3.Init.StopBits = UART_STOPBITS_1;
  huart3.Init.Parity = UART_PARITY_NONE;
  huart3.Init.Mode = UART_MODE_TX_RX;
  huart3.Init.HwFlowCtl = UART_HWCONTROL_NONE;
  huart3.Init.OverSampling = UART_OVERSAMPLING_16;
  huart3.Init.OneBitSampling = UART_ONE_BIT_SAMPLE_DISABLE;
  huart3.AdvancedInit.AdvFeatureInit = UART_ADVFEATURE_NO_INIT;
  if (HAL_UART_Init(&huart3) != HAL_OK)
  {
    Error_Handler();
  }

}

static void MX_USB_PCD_Init(void)
{

  hpcd_USB_FS.Instance = USB;
  hpcd_USB_FS.Init.dev_endpoints = 8;
  hpcd_USB_FS.Init.speed = PCD_SPEED_FULL;
  hpcd_USB_FS.Init.phy_itface = PCD_PHY_EMBEDDED;
  hpcd_USB_FS.Init.low_power_enable = DISABLE;
  hpcd_USB_FS.Init.lpm_enable = DISABLE;
  hpcd_USB_FS.Init.battery_charging_enable = DISABLE;
  if (HAL_PCD_Init(&hpcd_USB_FS) != HAL_OK)
  {
    Error_Handler();
  }

}

static void MX_DMA_Init(void)
{

  /* DMA controller clock enable */
  __HAL_RCC_DMA1_CLK_ENABLE();

  /* DMA interrupt init */
  /* DMA1_Channel1_IRQn interrupt configuration */
  HAL_NVIC_SetPriority(DMA1_Channel1_IRQn, 0, 0);
  HAL_NVIC_EnableIRQ(DMA1_Channel1_IRQn);
  /* DMA1_Channel4_IRQn interrupt configuration */
  HAL_NVIC_SetPriority(DMA1_Channel4_IRQn, 0, 0);
  HAL_NVIC_EnableIRQ(DMA1_Channel4_IRQn);
  /* DMA1_Channel5_IRQn interrupt configuration */
  HAL_NVIC_SetPriority(DMA1_Channel5_IRQn, 0, 0);
  HAL_NVIC_EnableIRQ(DMA1_Channel5_IRQn);

}

static void MX_GPIO_Init(void)
{
  GPIO_InitTypeDef GPIO_InitStruct = {0};

  /* GPIO Ports Clock Enable */
  __HAL_RCC_GPIOC_CLK_ENABLE();
  __HAL_RCC_GPIOF_CLK_ENABLE();
  __HAL_RCC_GPIOA_CLK_ENABLE();
  __HAL_RCC_GPIOB_CLK_ENABLE();
  __HAL_RCC_GPIOD_CLK_ENABLE();
  __HAL_RCC_GPIOG_CLK_ENABLE();

  /*Configure GPIO pin Output Level */
  HAL_GPIO_WritePin(GPIOC, SPI2_CS_Pin|CURTAIN1_UP_Pin|CURTAIN1_DW_Pin|LD1_Pin, GPIO_PIN_RESET);

  /*Configure GPIO pin Output Level */
  HAL_GPIO_WritePin(GPIOA, DC_MOTOR1_INV_Pin|DC_MOTOR2_INV_Pin|CURTAIN2_UP_Pin|CURTAIN2_DW_Pin, GPIO_PIN_RESET);

  /*Configure GPIO pin Output Level */
  HAL_GPIO_WritePin(GPIOB, DCMOTOR1_ON_Pin|DCMOTOR2_ON_Pin|LD3_Pin|LD2_Pin, GPIO_PIN_RESET);

  /*Configure GPIO pin Output Level */
  HAL_GPIO_WritePin(USB_PowerSwitchOn_GPIO_Port, USB_PowerSwitchOn_Pin, GPIO_PIN_RESET);

  /*Configure GPIO pin : USER_Btn_Pin */
  GPIO_InitStruct.Pin = USER_Btn_Pin;
  GPIO_InitStruct.Mode = GPIO_MODE_IT_RISING;
  GPIO_InitStruct.Pull = GPIO_NOPULL;
  HAL_GPIO_Init(USER_Btn_GPIO_Port, &GPIO_InitStruct);

  /*Configure GPIO pins : SPI2_CS_Pin CURTAIN1_UP_Pin CURTAIN1_DW_Pin LD1_Pin */
  GPIO_InitStruct.Pin = SPI2_CS_Pin|CURTAIN1_UP_Pin|CURTAIN1_DW_Pin|LD1_Pin;
  GPIO_InitStruct.Mode = GPIO_MODE_OUTPUT_PP;
  GPIO_InitStruct.Pull = GPIO_NOPULL;
  GPIO_InitStruct.Speed = GPIO_SPEED_FREQ_LOW;
  HAL_GPIO_Init(GPIOC, &GPIO_InitStruct);

  /*Configure GPIO pins : DC_MOTOR1_INV_Pin DC_MOTOR2_INV_Pin CURTAIN2_UP_Pin CURTAIN2_DW_Pin */
  GPIO_InitStruct.Pin = DC_MOTOR1_INV_Pin|DC_MOTOR2_INV_Pin|CURTAIN2_UP_Pin|CURTAIN2_DW_Pin;
  GPIO_InitStruct.Mode = GPIO_MODE_OUTPUT_PP;
  GPIO_InitStruct.Pull = GPIO_NOPULL;
  GPIO_InitStruct.Speed = GPIO_SPEED_FREQ_LOW;
  HAL_GPIO_Init(GPIOA, &GPIO_InitStruct);

  /*Configure GPIO pins : DCMOTOR1_ON_Pin DCMOTOR2_ON_Pin LD3_Pin LD2_Pin */
  GPIO_InitStruct.Pin = DCMOTOR1_ON_Pin|DCMOTOR2_ON_Pin|LD3_Pin|LD2_Pin;
  GPIO_InitStruct.Mode = GPIO_MODE_OUTPUT_PP;
  GPIO_InitStruct.Pull = GPIO_NOPULL;
  GPIO_InitStruct.Speed = GPIO_SPEED_FREQ_LOW;
  HAL_GPIO_Init(GPIOB, &GPIO_InitStruct);

  /*Configure GPIO pin : USB_PowerSwitchOn_Pin */
  GPIO_InitStruct.Pin = USB_PowerSwitchOn_Pin;
  GPIO_InitStruct.Mode = GPIO_MODE_OUTPUT_PP;
  GPIO_InitStruct.Pull = GPIO_NOPULL;
  GPIO_InitStruct.Speed = GPIO_SPEED_FREQ_LOW;
  HAL_GPIO_Init(USB_PowerSwitchOn_GPIO_Port, &GPIO_InitStruct);

  /*Configure GPIO pin : USB_OverCurrent_Pin */
  GPIO_InitStruct.Pin = USB_OverCurrent_Pin;
  GPIO_InitStruct.Mode = GPIO_MODE_INPUT;
  GPIO_InitStruct.Pull = GPIO_NOPULL;
  HAL_GPIO_Init(USB_OverCurrent_GPIO_Port, &GPIO_InitStruct);

}

void Error_Handler(void)
{
}

/************************ (C) COPYRIGHT STMicroelectronics *****END OF FILE****/
